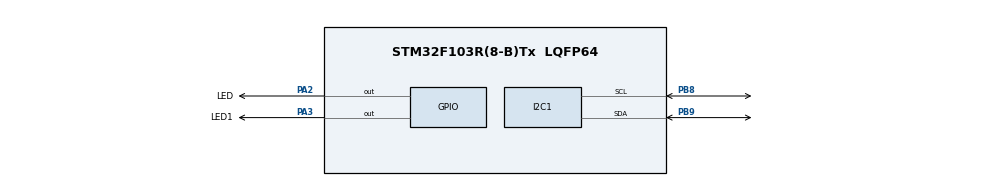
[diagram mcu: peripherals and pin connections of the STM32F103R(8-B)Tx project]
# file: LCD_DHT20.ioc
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Mcu.Family=STM32F1
Mcu.Name=STM32F103R(8-B)Tx
Mcu.Package=LQFP64
NVIC.PriorityGroup=NVIC_PRIORITYGROUP_4
NVIC.TIM2_IRQn=true\:0\:0\:false\:false\:true\:true\:true\:true
PA13.Mode=Serial_Wire
PA13.Signal=SYS_JTMS-SWDIO
PA14.Mode=Serial_Wire
PA14.Signal=SYS_JTCK-SWCLK
PA2.GPIO_Label=LED
PA2.Signal=GPIO_Output
PA3.GPIO_Label=LED1
PA3.Signal=GPIO_Output
PB8.Mode=I2C
PB8.Signal=I2C1_SCL
PB9.Mode=I2C
PB9.Signal=I2C1_SDA
ProjectManager.HeapSize=0x200
ProjectManager.StackSize=0x400
ProjectManager.TargetToolchain=STM32CubeIDE
RCC.APB1Freq_Value=8000000
RCC.APB2Freq_Value=8000000
TIM2.Period=8
TIM2.Prescaler=7999
VP_TIM2_VS_ClockSourceINT.Mode=Internal
board=custom

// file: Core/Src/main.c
/* USER CODE BEGIN Header */
/**
  ******************************************************************************
  * @file           : main.c
  * @brief          : Main program body
  ******************************************************************************
  * @attention
  *
  * Copyright (c) 2023 STMicroelectronics.
  * All rights reserved.
  *
  * This software is licensed under terms that can be found in the LICENSE file
  * in the root directory of this software component.
  * If no LICENSE file comes with this software, it is provided AS-IS.
  *
  ******************************************************************************
  */
/* USER CODE END Header */
#include "main.h"

/* USER CODE BEGIN Includes */
#include "lcd16x2.h"
#include "sch.h"
/* USER CODE END Includes */

I2C_HandleTypeDef hi2c1;

TIM_HandleTypeDef htim2;

/* USER CODE BEGIN PV */
CLCD_I2C_Name LCD1;
/* USER CODE END PV */

void SystemClock_Config(void);
static void MX_GPIO_Init(void);
static void MX_I2C1_Init(void);
static void MX_TIM2_Init(void);
/* USER CODE BEGIN PFP */
void showTemp();
void showVar();
//void showHumid();
/* USER CODE END PFP */

/* USER CODE BEGIN 0 */
void showTemp() {
	CLCD_I2C_Clear(&LCD1);
	CLCD_I2C_SetCursor(&LCD1, 0, 0);
	CLCD_I2C_WriteString(&LCD1, "Nhiet do: 30oC");
	CLCD_I2C_SetCursor(&LCD1, 0, 1);
	CLCD_I2C_WriteString(&LCD1, "Do am   : 60%");
	return;
}

void showVar() {
	CLCD_I2C_Clear(&LCD1);
	CLCD_I2C_SetCursor(&LCD1, 0, 0);
	CLCD_I2C_WriteString(&LCD1, "have item");
}

void blink(){
	HAL_GPIO_TogglePin(LED_GPIO_Port, LED_Pin);
}

//void showHumid() {
//	CLCD_I2C_WriteString(&LCD1, "Do am: 60%");
//	return;
//}

void showStatus() {
	CLCD_I2C_Clear(&LCD1);
	CLCD_I2C_SetCursor(&LCD1, 0, 0);
	CLCD_I2C_WriteString(&LCD1, "Moi truong");
	CLCD_I2C_SetCursor(&LCD1, 0, 1);
	CLCD_I2C_WriteString(&LCD1, "On dinh");
	return;
}
/* USER CODE END 0 */

int main(void)
{

  /* MCU Configuration--------------------------------------------------------*/

  /* Reset of all peripherals, Initializes the Flash interface and the Systick. */
  HAL_Init();

  /* Configure the system clock */
  SystemClock_Config();

  /* Initialize all configured peripherals */
  MX_GPIO_Init();
  MX_I2C1_Init();
  MX_TIM2_Init();
  /* USER CODE BEGIN 2 */
  HAL_TIM_Base_Start_IT(&htim2);
  CLCD_I2C_Init(&LCD1, &hi2c1, 0x4e, 20, 4);
  SCH_Init();

  /* USER CODE END 2 */

  /* Infinite loop */
  /* USER CODE BEGIN WHILE */

  SCH_Add_Task(showTemp, 3, 600);
  SCH_Add_Task(showStatus, 303, 600);
//  SCH_Add_Task(showTemp, 203, 600);

  while (1)
  {
	SCH_Dispatch_Tasks();
    /* USER CODE END WHILE */

  }
}

void SystemClock_Config(void)
{
  RCC_OscInitTypeDef RCC_OscInitStruct = {0};
  RCC_ClkInitTypeDef RCC_ClkInitStruct = {0};

  /** Initializes the RCC Oscillators according to the specified parameters
  * in the RCC_OscInitTypeDef structure.
  */
  RCC_OscInitStruct.OscillatorType = RCC_OSCILLATORTYPE_HSI;
  RCC_OscInitStruct.HSIState = RCC_HSI_ON;
  RCC_OscInitStruct.HSICalibrationValue = RCC_HSICALIBRATION_DEFAULT;
  RCC_OscInitStruct.PLL.PLLState = RCC_PLL_NONE;
  if (HAL_RCC_OscConfig(&RCC_OscInitStruct) != HAL_OK)
  {
    Error_Handler();
  }

  /** Initializes the CPU, AHB and APB buses clocks
  */
  RCC_ClkInitStruct.ClockType = RCC_CLOCKTYPE_HCLK|RCC_CLOCKTYPE_SYSCLK
                              |RCC_CLOCKTYPE_PCLK1|RCC_CLOCKTYPE_PCLK2;
  RCC_ClkInitStruct.SYSCLKSource = RCC_SYSCLKSOURCE_HSI;
  RCC_ClkInitStruct.AHBCLKDivider = RCC_SYSCLK_DIV1;
  RCC_ClkInitStruct.APB1CLKDivider = RCC_HCLK_DIV1;
  RCC_ClkInitStruct.APB2CLKDivider = RCC_HCLK_DIV1;

  if (HAL_RCC_ClockConfig(&RCC_ClkInitStruct, FLASH_LATENCY_0) != HAL_OK)
  {
    Error_Handler();
  }
}

static void MX_I2C1_Init(void)
{

  hi2c1.Instance = I2C1;
  hi2c1.Init.ClockSpeed = 100000;
  hi2c1.Init.DutyCycle = I2C_DUTYCYCLE_2;
  hi2c1.Init.OwnAddress1 = 0;
  hi2c1.Init.AddressingMode = I2C_ADDRESSINGMODE_7BIT;
  hi2c1.Init.DualAddressMode = I2C_DUALADDRESS_DISABLE;
  hi2c1.Init.OwnAddress2 = 0;
  hi2c1.Init.GeneralCallMode = I2C_GENERALCALL_DISABLE;
  hi2c1.Init.NoStretchMode = I2C_NOSTRETCH_DISABLE;
  if (HAL_I2C_Init(&hi2c1) != HAL_OK)
  {
    Error_Handler();
  }

}

static void MX_TIM2_Init(void)
{

  TIM_ClockConfigTypeDef sClockSourceConfig = {0};
  TIM_MasterConfigTypeDef sMasterConfig = {0};

  htim2.Instance = TIM2;
  htim2.Init.Prescaler = 7999;
  htim2.Init.CounterMode = TIM_COUNTERMODE_UP;
  htim2.Init.Period = 8;
  htim2.Init.ClockDivision = TIM_CLOCKDIVISION_DIV1;
  htim2.Init.AutoReloadPreload = TIM_AUTORELOAD_PRELOAD_DISABLE;
  if (HAL_TIM_Base_Init(&htim2) != HAL_OK)
  {
    Error_Handler();
  }
  sClockSourceConfig.ClockSource = TIM_CLOCKSOURCE_INTERNAL;
  if (HAL_TIM_ConfigClockSource(&htim2, &sClockSourceConfig) != HAL_OK)
  {
    Error_Handler();
  }
  sMasterConfig.MasterOutputTrigger = TIM_TRGO_RESET;
  sMasterConfig.MasterSlaveMode = TIM_MASTERSLAVEMODE_DISABLE;
  if (HAL_TIMEx_MasterConfigSynchronization(&htim2, &sMasterConfig) != HAL_OK)
  {
    Error_Handler();
  }

}

static void MX_GPIO_Init(void)
{
  GPIO_InitTypeDef GPIO_InitStruct = {0};

  /* GPIO Ports Clock Enable */
  __HAL_RCC_GPIOA_CLK_ENABLE();
  __HAL_RCC_GPIOB_CLK_ENABLE();

  /*Configure GPIO pin Output Level */
  HAL_GPIO_WritePin(GPIOA, LED_Pin|LED1_Pin, GPIO_PIN_RESET);

  /*Configure GPIO pins : LED_Pin LED1_Pin */
  GPIO_InitStruct.Pin = LED_Pin|LED1_Pin;
  GPIO_InitStruct.Mode = GPIO_MODE_OUTPUT_PP;
  GPIO_InitStruct.Pull = GPIO_NOPULL;
  GPIO_InitStruct.Speed = GPIO_SPEED_FREQ_LOW;
  HAL_GPIO_Init(GPIOA, &GPIO_InitStruct);

}

/* USER CODE BEGIN 4 */
void HAL_TIM_PeriodElapsedCallback(TIM_HandleTypeDef *htim) {
	SCH_Update();
}
/* USER CODE END 4 */

void Error_Handler(void)
{
  __disable_irq();
  while (1)
  {
  }
}
